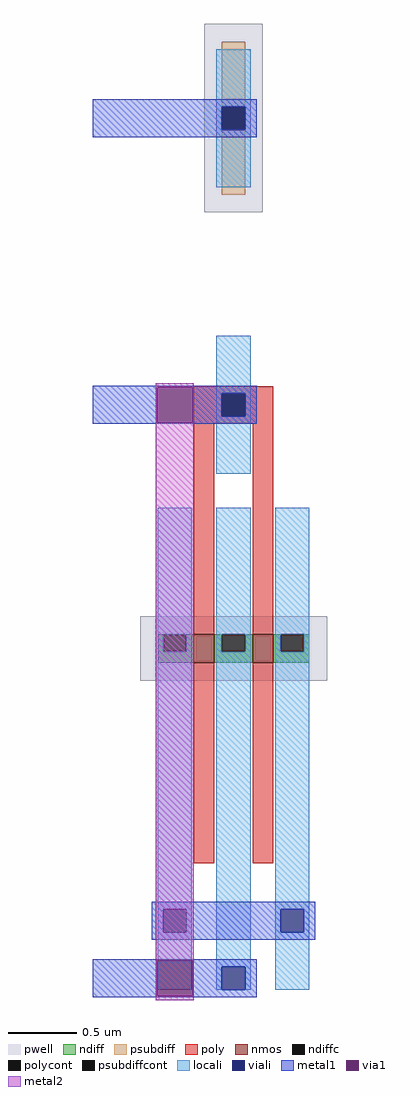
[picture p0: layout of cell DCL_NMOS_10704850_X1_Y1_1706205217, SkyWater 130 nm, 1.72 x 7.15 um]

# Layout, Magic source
magic
tech sky130A
magscale 1 2
<< pwell >>
rect 215 1206 301 1482
rect 121 520 395 614
<< nmos >>
rect 200 546 230 588
rect 286 546 316 588
<< ndiff >>
rect 147 562 155 588
rect 189 562 200 588
rect 147 546 200 562
rect 230 562 241 588
rect 275 562 286 588
rect 230 546 286 562
rect 316 562 327 588
rect 361 562 369 588
rect 316 546 369 562
<< ndiffc >>
rect 155 562 189 588
rect 241 562 275 588
rect 327 562 361 588
<< psubdiff >>
rect 241 1361 275 1456
rect 241 1232 275 1327
<< psubdiffcont >>
rect 241 1327 275 1361
<< poly >>
rect 200 941 316 951
rect 200 907 241 941
rect 275 907 316 941
rect 200 897 316 907
rect 200 588 230 897
rect 286 588 316 897
rect 200 252 230 546
rect 286 252 316 546
<< polycont >>
rect 241 907 275 941
<< locali >>
rect 233 1361 283 1445
rect 233 1327 241 1361
rect 275 1327 283 1361
rect 233 1243 283 1327
rect 233 941 283 1025
rect 233 907 241 941
rect 275 907 283 941
rect 233 823 283 907
rect 147 588 197 773
rect 147 562 155 588
rect 189 562 197 588
rect 147 185 197 562
rect 147 151 155 185
rect 189 151 197 185
rect 147 67 197 151
rect 233 588 283 773
rect 233 562 241 588
rect 275 562 283 588
rect 233 101 283 562
rect 233 67 241 101
rect 275 67 283 101
rect 319 588 369 773
rect 319 562 327 588
rect 361 562 369 588
rect 319 185 369 562
rect 319 151 327 185
rect 361 151 369 185
rect 319 67 369 151
<< viali >>
rect 241 1327 275 1361
rect 241 907 275 941
rect 155 151 189 185
rect 241 67 275 101
rect 327 151 361 185
<< metal1 >>
rect 52 1361 292 1372
rect 52 1327 241 1361
rect 275 1327 292 1361
rect 52 1316 292 1327
rect 52 950 292 952
rect 52 898 146 950
rect 198 941 292 950
rect 198 907 241 941
rect 275 907 292 941
rect 198 898 292 907
rect 52 896 292 898
rect 138 185 378 196
rect 138 151 155 185
rect 189 151 327 185
rect 361 151 378 185
rect 138 140 378 151
rect 52 110 292 112
rect 52 58 146 110
rect 198 101 292 110
rect 198 67 241 101
rect 275 67 292 101
rect 198 58 292 67
rect 52 56 292 58
<< via1 >>
rect 146 898 198 950
rect 146 58 198 110
<< metal2 >>
rect 144 950 200 956
rect 144 898 146 950
rect 198 898 200 950
rect 144 110 200 898
rect 144 58 146 110
rect 198 58 200 110
rect 144 52 200 58
<< end >>
